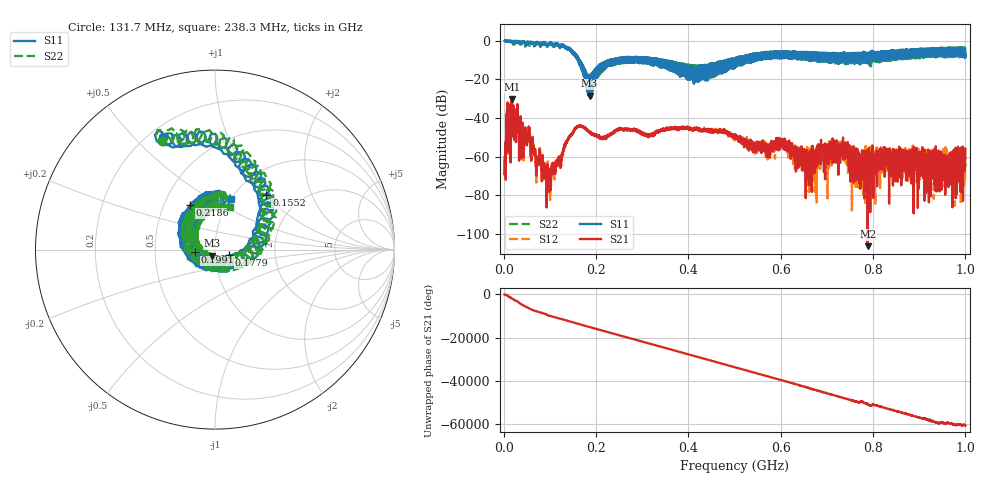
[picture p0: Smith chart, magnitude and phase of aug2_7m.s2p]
!Keysight Technologies N9923A: A.12.45
!Date: Saturday, 02 August 2025 18:41:37
!Timezone: (UTC+08:00) Kuala Lumpur, Singapore
!Model: N9923A
!Serial: MY61181427
!GPS Latitude:
!GPS Longitude:
!GPS TimeStamp: 0001-01-01 00:00:00Z
!GPS Seconds Since Last Read: 0
!CHECKSUM:1513487766
!Correction: S11(ON U)S21(ON U)S12(ON U)S22(ON U)
!S2P File: Measurements:S11,S21,S12,S22:
# Hz S DB R 50
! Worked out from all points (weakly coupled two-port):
!   4001 points, 2 MHz to 1 GHz, reference 50 ohm
!   highest |S21| = -30.13 dB at 17.97 MHz (marker M1); lowest = -106.3 dB at 788.4 MHz (marker M2)
!   lowest |S11| = -28.4 dB at 186.1 MHz (marker M3), VSWR 1.08, Z = 48.2 - j3.28 ohm
!   |S11| at or under -10 dB: 164 MHz to 228.5 MHz (64.49 MHz wide, 32.9 % of centre); 228.6 MHz to 230.2 MHz (1.54 MHz wide, 0.671 % of centre); 347.8 MHz to 484.7 MHz (136.9 MHz wide, 32.9 % of centre) (the widest 3 of 204)
!   |S22| runs from -29.5 to 0.1 dB; largest |S21 - S12| = 0.0023
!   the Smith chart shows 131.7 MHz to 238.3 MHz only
!   S11 on the Smith chart (normalised r, x): 131.7 MHz: 0.26, +0.61; 155.2 MHz: 1.37, +1.01; 177.9 MHz: 1.17, -0.07; 199.1 MHz: 0.80, -0.02; 218.6 MHz: 0.68, +0.37; 238.3 MHz: 1.00, +0.62
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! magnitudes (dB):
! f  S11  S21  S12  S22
! 2 MHz  -0.1  -60.1  -61.5  -0.1
! 9.735 MHz  -0.1  -41.8  -41.7  -0.1
! 17.97 MHz  -0.6  -30.1  -30.1  -0.9
! 97.31 MHz  -1.5  -70.0  -68.2  -1.6
! 131.7 MHz  -3.2  -54.5  -55.0  -3.4
! 155.2 MHz  -7.6  -45.5  -44.8  -7.8
! 168.4 MHz  -14.0  -44.0  -44.1  -14.1
! 177.9 MHz  -21.5  -45.7  -45.7  -18.4
! 186.1 MHz  -28.4  -47.3  -47.3  -23.4
! 199.1 MHz  -18.9  -49.1  -49.3  -17.0
! 218.6 MHz  -10.9  -49.9  -49.4  -11.8
! 238.3 MHz  -10.5  -47.2  -47.1  -12.1
! 334.8 MHz  -11.8  -46.8  -46.6  -10.0
! 413.7 MHz  -20.9  -45.7  -45.8  -13.9
! 501 MHz  -12.0  -50.1  -51.5  -12.3
! 603 MHz  -9.1  -51.8  -54.2  -6.2
! 667.4 MHz  -7.0  -60.6  -63.2  -9.6
! 721.6 MHz  -6.6  -54.4  -58.7  -11.3
! 788.4 MHz  -8.1  -106.3  -60.2  -8.3
! 833.8 MHz  -6.8  -60.9  -61.1  -7.6
! 956.6 MHz  -4.7  -59.4  -68.6  -5.4
! 1 GHz  -7.0  -55.9  -59.9  -3.5
